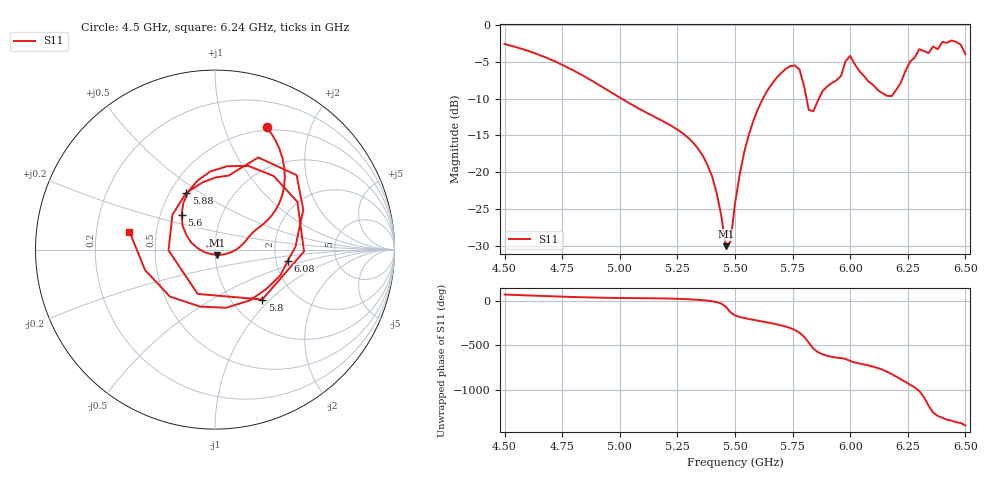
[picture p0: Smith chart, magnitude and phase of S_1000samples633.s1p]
! TOUCHSTONE file generated by CST MICROWAVE STUDIO
! Date and time: Fri Oct 28 20:29:07 2022
! Project name: L.cst
! Parameters = {Di=1.27; Epsilon_r=1.56; InnerDiameter=1.27; Length=2; Lf=10; Lg=60; OuterConductorThickness=0.2921; OuterDiameter=3.6; Wf=3; Wp=41.2; de=1.5; df=6.8; g=0.8; gx=1.31422; gy=2.55381; h=2.34; hf=1.524; px=12.3876; py=14.3067; w=9.7; wx=11.0733; wy=11.7529}
! Header version: 2018
! Port assignment regex: !\s*Touchstone port\s*([0-9]+)\s*=\s*(CST MWS port|CST DS port)\s*([0-9]+|Zmin|Zmax)\s*\(\"(.*)\"\)(\s*mode\s*([0-9]+))?.*
! Touchstone port assignment:
! Touchstone port 1 = CST MWS port 1 ("")
# GHz S DB R 50
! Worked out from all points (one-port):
!   101 points, 4.5 GHz to 6.5 GHz, reference 50 ohm
!   lowest |S11| = -30.0 dB at 5.46 GHz (marker M1), VSWR 1.07, Z = 51 - j3.01 ohm
!   |S11| at or under -10 dB: 5.007 GHz to 5.621 GHz (614.9 MHz wide, 11.6 % of centre); 5.81 GHz to 5.864 GHz (53.89 MHz wide, 0.923 % of centre)
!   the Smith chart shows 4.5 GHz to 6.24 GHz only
!   S11 on the Smith chart (normalised r, x): 4.5 GHz: 0.46, +1.40; 5.6 GHz: 0.64, +0.27; 5.8 GHz: 1.38, -0.90; 5.88 GHz: 0.60, +0.44; 6.08 GHz: 2.34, -0.34; 6.24 GHz: 0.35, +0.09
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4.5  -2.59 67.2
4.76  -5.57 42.9
5  -9.88 28.7
5.26  -14.42 18.5
5.4  -20.50 -8.3
5.46  -30.03 -69.2
5.48  -29.47 -131.1
5.5  -24.26 -166.9
5.6  -11.39 133.7
5.7  -6.57 81.6
5.76  -5.51 30.1
5.78  -6.09 -1.2
5.8  -8.34 -46.6
5.84  -11.73 -179.1
5.88  -9.00 117.0
5.96  -6.95 75.5
6  -4.22 42.4
6.08  -7.72 -8.5
6.18  -9.68 -104.6
6.24  -6.25 168.2
6.26  -4.99 135.8
6.3  -3.30 65.6
6.32  -3.55 -3.3
6.34  -3.84 -98.6
6.36  -2.94 -176.3
6.4  -2.33 124.6
6.46  -2.33 75.1
6.5  -3.99 38.9
